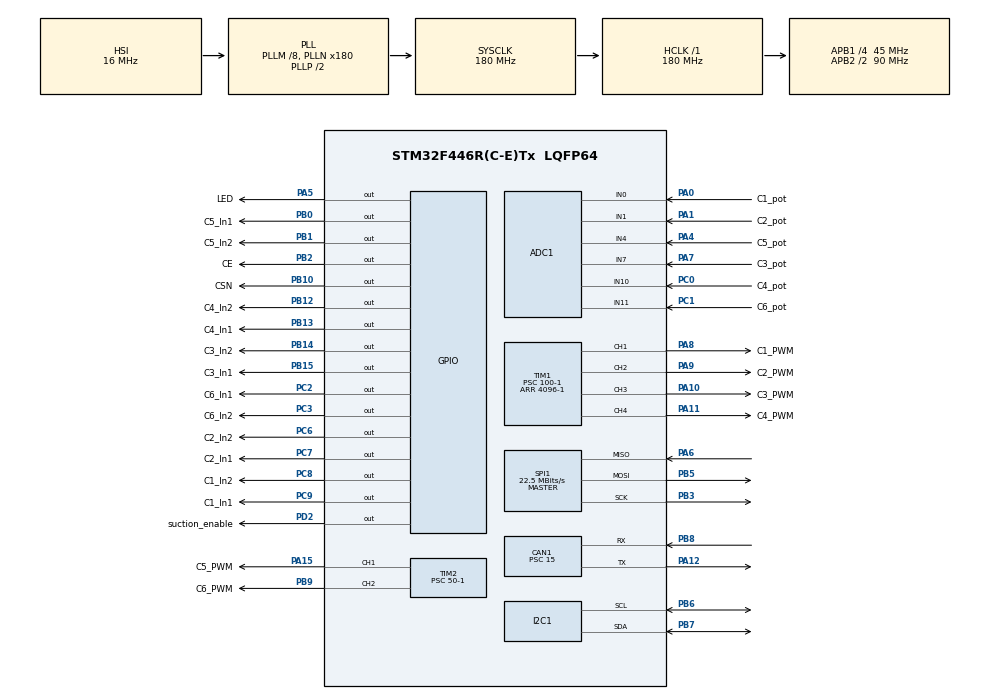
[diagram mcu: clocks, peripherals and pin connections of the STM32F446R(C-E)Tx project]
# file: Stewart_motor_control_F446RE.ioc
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ADC1.Channel-0\#ChannelRegularConversion=ADC_CHANNEL_0
ADC1.Channel-1\#ChannelRegularConversion=ADC_CHANNEL_1
ADC1.Channel-2\#ChannelRegularConversion=ADC_CHANNEL_7
ADC1.Channel-3\#ChannelRegularConversion=ADC_CHANNEL_10
ADC1.Channel-4\#ChannelRegularConversion=ADC_CHANNEL_4
ADC1.Channel-5\#ChannelRegularConversion=ADC_CHANNEL_11
ADC1.ContinuousConvMode=DISABLE
ADC1.EOCSelection=ADC_EOC_SEQ_CONV
ADC1.NbrOfConversion=6
ADC1.NbrOfConversionFlag=1
ADC1.Rank-0\#ChannelRegularConversion=1
ADC1.Rank-1\#ChannelRegularConversion=2
ADC1.Rank-2\#ChannelRegularConversion=3
ADC1.Rank-3\#ChannelRegularConversion=4
ADC1.Rank-4\#ChannelRegularConversion=5
ADC1.Rank-5\#ChannelRegularConversion=6
ADC1.SamplingTime-0\#ChannelRegularConversion=ADC_SAMPLETIME_28CYCLES
ADC1.SamplingTime-1\#ChannelRegularConversion=ADC_SAMPLETIME_28CYCLES
ADC1.SamplingTime-2\#ChannelRegularConversion=ADC_SAMPLETIME_28CYCLES
ADC1.SamplingTime-3\#ChannelRegularConversion=ADC_SAMPLETIME_28CYCLES
ADC1.SamplingTime-4\#ChannelRegularConversion=ADC_SAMPLETIME_28CYCLES
ADC1.SamplingTime-5\#ChannelRegularConversion=ADC_SAMPLETIME_28CYCLES
ADC1.master=1
CAN1.BS1=CAN_BS1_12TQ
CAN1.BS2=CAN_BS2_2TQ
CAN1.CalculateBaudRate=200000
CAN1.CalculateTimeBit=5000
CAN1.CalculateTimeQuantum=333.3333333333333
CAN1.Prescaler=15
Dma.ADC1.0.Direction=DMA_PERIPH_TO_MEMORY
Dma.ADC1.0.FIFOMode=DMA_FIFOMODE_DISABLE
Dma.ADC1.0.Instance=DMA2_Stream0
Dma.ADC1.0.MemDataAlignment=DMA_MDATAALIGN_HALFWORD
Dma.ADC1.0.MemInc=DMA_MINC_ENABLE
Dma.ADC1.0.Mode=DMA_CIRCULAR
Dma.ADC1.0.PeriphDataAlignment=DMA_PDATAALIGN_HALFWORD
Dma.ADC1.0.PeriphInc=DMA_PINC_DISABLE
Dma.ADC1.0.Priority=DMA_PRIORITY_LOW
Dma.Request0=ADC1
I2C1.OwnAddress=0x00
Mcu.Family=STM32F4
Mcu.Name=STM32F446R(C-E)Tx
Mcu.Package=LQFP64
NVIC.DMA2_Stream0_IRQn=true\:0\:0\:false\:false\:true\:false\:true\:true
NVIC.PriorityGroup=NVIC_PRIORITYGROUP_4
PA0-WKUP.GPIO_Label=C1_pot
PA0-WKUP.Signal=ADCx_IN0
PA1.GPIO_Label=C2_pot
PA1.Signal=ADCx_IN1
PA10.GPIO_Label=C3_PWM
PA10.Signal=S_TIM1_CH3
PA11.GPIO_Label=C4_PWM
PA11.Signal=S_TIM1_CH4
PA12.Mode=CAN_Activate
PA12.Signal=CAN1_TX
PA15.GPIO_Label=C5_PWM
PA15.Signal=S_TIM2_CH1_ETR
PA4.GPIO_Label=C5_pot
PA4.Signal=ADCx_IN4
PA5.GPIO_Label=LED
PA5.Signal=GPIO_Output
PA6.Mode=Full_Duplex_Master
PA6.Signal=SPI1_MISO
PA7.GPIO_Label=C3_pot
PA7.Signal=ADCx_IN7
PA8.GPIO_Label=C1_PWM
PA8.Signal=S_TIM1_CH1
PA9.GPIO_Label=C2_PWM
PA9.Signal=S_TIM1_CH2
PB0.GPIO_Label=C5_In1
PB0.Signal=GPIO_Output
PB1.GPIO_Label=C5_In2
PB1.Signal=GPIO_Output
PB10.GPIO_Label=CSN
PB10.Signal=GPIO_Output
PB12.GPIO_Label=C4_In2
PB12.Signal=GPIO_Output
PB13.GPIO_Label=C4_In1
PB13.Signal=GPIO_Output
PB14.GPIO_Label=C3_In2
PB14.Signal=GPIO_Output
PB15.GPIO_Label=C3_In1
PB15.Signal=GPIO_Output
PB2.GPIO_Label=CE
PB2.Signal=GPIO_Output
PB3.Mode=Full_Duplex_Master
PB3.Signal=SPI1_SCK
PB5.Mode=Full_Duplex_Master
PB5.Signal=SPI1_MOSI
PB6.Mode=I2C
PB6.Signal=I2C1_SCL
PB7.Mode=I2C
PB7.Signal=I2C1_SDA
PB8.Mode=CAN_Activate
PB8.Signal=CAN1_RX
PB9.GPIO_Label=C6_PWM
PB9.Signal=S_TIM2_CH2
PC0.GPIO_Label=C4_pot
PC0.Signal=ADCx_IN10
PC1.GPIO_Label=C6_pot
PC1.Signal=ADCx_IN11
PC2.GPIO_Label=C6_In1
PC2.Signal=GPIO_Output
PC3.GPIO_Label=C6_In2
PC3.Signal=GPIO_Output
PC6.GPIO_Label=C2_In2
PC6.Signal=GPIO_Output
PC7.GPIO_Label=C2_In1
PC7.Signal=GPIO_Output
PC8.GPIO_Label=C1_In2
PC8.Signal=GPIO_Output
PC9.GPIO_Label=C1_In1
PC9.Signal=GPIO_Output
PD2.GPIO_Label=suction_enable
PD2.Signal=GPIO_Output
PH0-OSC_IN.Mode=HSE-External-Oscillator
PH0-OSC_IN.Signal=RCC_OSC_IN
PH1-OSC_OUT.Mode=HSE-External-Oscillator
PH1-OSC_OUT.Signal=RCC_OSC_OUT
ProjectManager.HeapSize=0x200
ProjectManager.StackSize=0x400
ProjectManager.TargetToolchain=STM32CubeIDE
RCC.AHBFreq_Value=180000000
RCC.APB1CLKDivider=RCC_HCLK_DIV4
RCC.APB1Freq_Value=45000000
RCC.APB1TimFreq_Value=90000000
RCC.APB2CLKDivider=RCC_HCLK_DIV2
RCC.APB2Freq_Value=90000000
RCC.APB2TimFreq_Value=180000000
RCC.CortexFreq_Value=180000000
RCC.HCLKFreq_Value=180000000
RCC.PLLM=8
RCC.PLLN=180
RCC.SYSCLKFreq_VALUE=180000000
RCC.SYSCLKSource=RCC_SYSCLKSOURCE_PLLCLK
RCC.USBFreq_Value=180000000
RCC.VCOOutputFreq_Value=360000000
SH.ADCx_IN0.0=ADC1_IN0,IN0
SH.ADCx_IN1.0=ADC1_IN1,IN1
SH.ADCx_IN10.0=ADC1_IN10,IN10
SH.ADCx_IN11.0=ADC1_IN11,IN11
SH.ADCx_IN4.0=ADC1_IN4,IN4
SH.ADCx_IN7.0=ADC1_IN7,IN7
SH.S_TIM1_CH1.0=TIM1_CH1,PWM Generation1 CH1
SH.S_TIM1_CH2.0=TIM1_CH2,PWM Generation2 CH2
SH.S_TIM1_CH3.0=TIM1_CH3,PWM Generation3 CH3
SH.S_TIM1_CH4.0=TIM1_CH4,PWM Generation4 CH4
SH.S_TIM2_CH1_ETR.0=TIM2_CH1,PWM Generation1 CH1
SH.S_TIM2_CH2.0=TIM2_CH2,PWM Generation2 CH2
SPI1.BaudRatePrescaler=SPI_BAUDRATEPRESCALER_4
SPI1.CalculateBaudRate=22.5 MBits/s
SPI1.Direction=SPI_DIRECTION_2LINES
SPI1.Mode=SPI_MODE_MASTER
SPI1.VirtualType=VM_MASTER
TIM1.Channel-PWM\ Generation1\ CH1=TIM_CHANNEL_1
TIM1.Channel-PWM\ Generation2\ CH2=TIM_CHANNEL_2
TIM1.Channel-PWM\ Generation3\ CH3=TIM_CHANNEL_3
TIM1.Channel-PWM\ Generation4\ CH4=TIM_CHANNEL_4
TIM1.Period=4096-1
TIM1.Prescaler=100-1
TIM2.Channel-PWM\ Generation1\ CH1=TIM_CHANNEL_1
TIM2.Channel-PWM\ Generation2\ CH2=TIM_CHANNEL_2
TIM2.Period=4096-1
TIM2.Prescaler=50-1
VP_TIM1_VS_ClockSourceINT.Mode=Internal
VP_TIM2_VS_ClockSourceINT.Mode=Internal
board=custom

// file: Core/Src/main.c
/* USER CODE BEGIN Header */
/**
  ******************************************************************************
  * @file           : main.c
  * @brief          : Main program body
  ******************************************************************************
  * @attention
  *
  * Copyright (c) 2024 STMicroelectronics.
  * All rights reserved.
  *
  * This software is licensed under terms that can be found in the LICENSE file
  * in the root directory of this software component.
  * If no LICENSE file comes with this software, it is provided AS-IS.
  *
  ******************************************************************************
  */
/* USER CODE END Header */
#include "main.h"

/* USER CODE BEGIN Includes */

#include "NRF24L01.h"

/* USER CODE END Includes */

/* USER CODE BEGIN PD */

#define I2C
//#define RF
//#define CAN

/* USER CODE END PD */

ADC_HandleTypeDef hadc1;
DMA_HandleTypeDef hdma_adc1;

CAN_HandleTypeDef hcan1;

I2C_HandleTypeDef hi2c1;

SPI_HandleTypeDef hspi1;

TIM_HandleTypeDef htim1;
TIM_HandleTypeDef htim2;

/* USER CODE BEGIN PV */

uint8_t RxData[13];
uint16_t adc_raw[12];
uint16_t curr_pot[6];
uint16_t target_pot[6];
double i_e[6];
double error[6];
uint16_t mot_control_signal[6][3];

uint8_t adc_ready;

uint8_t suction_signal;
uint8_t motor_en_signal;

#ifdef CAN
	CAN_RxHeaderTypeDef pRxHeader;
	uint8_t CAN_RxData[8];
#endif

#ifdef RF
	uint8_t RF_address[] = {0xAA, 0xBB, 0xCC, 0xDD, 0xEE};
#endif

/* USER CODE END PV */

void SystemClock_Config(void);
static void MX_GPIO_Init(void);
static void MX_DMA_Init(void);
static void MX_ADC1_Init(void);
static void MX_TIM1_Init(void);
static void MX_TIM2_Init(void);
static void MX_I2C1_Init(void);
static void MX_SPI1_Init(void);
static void MX_CAN1_Init(void);
/* USER CODE BEGIN PFP */

void unpack_data(void);
void speed_control(void);
void control_motors(void);

#ifdef CAN
void CAN_Recieve_Unpack(void);
void CAN_UnpackRxMessage(void);
static void CAN_Filter_Config(void);
#endif

/* USER CODE END PFP */

int main(void)
{

  /* MCU Configuration--------------------------------------------------------*/

  /* Reset of all peripherals, Initializes the Flash interface and the Systick. */
  HAL_Init();

  /* Configure the system clock */
  SystemClock_Config();

  /* Initialize all configured peripherals */
  MX_GPIO_Init();
  MX_DMA_Init();
  MX_ADC1_Init();
  MX_TIM1_Init();
  MX_TIM2_Init();
  MX_I2C1_Init();
  MX_SPI1_Init();
  MX_CAN1_Init();
  /* USER CODE BEGIN 2 */

  HAL_TIM_PWM_Start(&htim1, TIM_CHANNEL_1);
  HAL_TIM_PWM_Start(&htim1, TIM_CHANNEL_2);
  HAL_TIM_PWM_Start(&htim1, TIM_CHANNEL_3);
  HAL_TIM_PWM_Start(&htim1, TIM_CHANNEL_4);

  HAL_TIM_PWM_Start(&htim2, TIM_CHANNEL_1);
  HAL_TIM_PWM_Start(&htim2, TIM_CHANNEL_2);

#ifdef RF
  	  NRF24_Init();
  	  NRF24_RxMode(RF_address, 1);
#endif

#ifdef CAN

  	  CAN_Filter_Config();
  	  HAL_CAN_Start(&hcan1);
  	  HAL_CAN_WakeUp(&hcan1);
  	  HAL_CAN_ActivateNotification(&hcan1, CAN_IT_RX_FIFO0_MSG_PENDING | CAN_IT_RX_FIFO1_MSG_PENDING);
#endif

  /* USER CODE END 2 */

  /* Infinite loop */
  /* USER CODE BEGIN WHILE */
  while (1)
  {
	  HAL_ADC_Start_DMA(&hadc1, (uint32_t*) adc_raw, 12);

	  // read and filter ADC values
	  if (adc_ready) {

		  curr_pot[0] = (curr_pot[0] + adc_raw[0] + adc_raw[6]) / 3;
		  curr_pot[1] = (curr_pot[1] + adc_raw[1] + adc_raw[7]) / 3;
		  curr_pot[2] = (curr_pot[2] + adc_raw[2] + adc_raw[8]) / 3;
		  curr_pot[3] = (curr_pot[3] + adc_raw[3] + adc_raw[9]) / 3;
		  curr_pot[4] = (curr_pot[4] + adc_raw[4] + adc_raw[10]) / 3;
		  curr_pot[5] = (curr_pot[5] + adc_raw[5] + adc_raw[11]) / 3;

		  adc_ready = 0;

	  }

#ifdef I2C
	  if (HAL_I2C_Slave_Receive(&hi2c1, RxData, sizeof(RxData), 50) == HAL_OK) {
		  HAL_GPIO_TogglePin(LED_GPIO_Port, LED_Pin);
	  }

#endif

#ifdef RF
	  if (isDataAvailable(1) == 1) {
		  NRF24_Receive(RxData);
		  HAL_GPIO_TogglePin(LED_GPIO_Port, LED_Pin);
	  }

#endif

	  unpack_data();

#ifdef CAN

	  CAN_Recieve_Unpack();

#endif

	  if (suction_signal == 1) {
		  HAL_GPIO_WritePin(suction_enable_GPIO_Port, suction_enable_Pin, 1);
	  }
	  else if (suction_signal == 0){
		  HAL_GPIO_WritePin(suction_enable_GPIO_Port, suction_enable_Pin, 0);
	  }

	  speed_control();
	  control_motors();

	  HAL_Delay(10);

    /* USER CODE END WHILE */

  }
}

void SystemClock_Config(void)
{
  RCC_OscInitTypeDef RCC_OscInitStruct = {0};
  RCC_ClkInitTypeDef RCC_ClkInitStruct = {0};

  /** Configure the main internal regulator output voltage
  */
  __HAL_RCC_PWR_CLK_ENABLE();
  __HAL_PWR_VOLTAGESCALING_CONFIG(PWR_REGULATOR_VOLTAGE_SCALE1);

  /** Initializes the RCC Oscillators according to the specified parameters
  * in the RCC_OscInitTypeDef structure.
  */
  RCC_OscInitStruct.OscillatorType = RCC_OSCILLATORTYPE_HSI;
  RCC_OscInitStruct.HSIState = RCC_HSI_ON;
  RCC_OscInitStruct.HSICalibrationValue = RCC_HSICALIBRATION_DEFAULT;
  RCC_OscInitStruct.PLL.PLLState = RCC_PLL_ON;
  RCC_OscInitStruct.PLL.PLLSource = RCC_PLLSOURCE_HSI;
  RCC_OscInitStruct.PLL.PLLM = 8;
  RCC_OscInitStruct.PLL.PLLN = 180;
  RCC_OscInitStruct.PLL.PLLP = RCC_PLLP_DIV2;
  RCC_OscInitStruct.PLL.PLLQ = 2;
  RCC_OscInitStruct.PLL.PLLR = 2;
  if (HAL_RCC_OscConfig(&RCC_OscInitStruct) != HAL_OK)
  {
    Error_Handler();
  }

  /** Activate the Over-Drive mode
  */
  if (HAL_PWREx_EnableOverDrive() != HAL_OK)
  {
    Error_Handler();
  }

  /** Initializes the CPU, AHB and APB buses clocks
  */
  RCC_ClkInitStruct.ClockType = RCC_CLOCKTYPE_HCLK|RCC_CLOCKTYPE_SYSCLK
                              |RCC_CLOCKTYPE_PCLK1|RCC_CLOCKTYPE_PCLK2;
  RCC_ClkInitStruct.SYSCLKSource = RCC_SYSCLKSOURCE_PLLCLK;
  RCC_ClkInitStruct.AHBCLKDivider = RCC_SYSCLK_DIV1;
  RCC_ClkInitStruct.APB1CLKDivider = RCC_HCLK_DIV4;
  RCC_ClkInitStruct.APB2CLKDivider = RCC_HCLK_DIV2;

  if (HAL_RCC_ClockConfig(&RCC_ClkInitStruct, FLASH_LATENCY_5) != HAL_OK)
  {
    Error_Handler();
  }
}

static void MX_ADC1_Init(void)
{

  ADC_ChannelConfTypeDef sConfig = {0};

  /** Configure the global features of the ADC (Clock, Resolution, Data Alignment and number of conversion)
  */
  hadc1.Instance = ADC1;
  hadc1.Init.ClockPrescaler = ADC_CLOCK_SYNC_PCLK_DIV4;
  hadc1.Init.Resolution = ADC_RESOLUTION_12B;
  hadc1.Init.ScanConvMode = ENABLE;
  hadc1.Init.ContinuousConvMode = DISABLE;
  hadc1.Init.DiscontinuousConvMode = DISABLE;
  hadc1.Init.ExternalTrigConvEdge = ADC_EXTERNALTRIGCONVEDGE_NONE;
  hadc1.Init.ExternalTrigConv = ADC_SOFTWARE_START;
  hadc1.Init.DataAlign = ADC_DATAALIGN_RIGHT;
  hadc1.Init.NbrOfConversion = 6;
  hadc1.Init.DMAContinuousRequests = DISABLE;
  hadc1.Init.EOCSelection = ADC_EOC_SEQ_CONV;
  if (HAL_ADC_Init(&hadc1) != HAL_OK)
  {
    Error_Handler();
  }

  /** Configure for the selected ADC regular channel its corresponding rank in the sequencer and its sample time.
  */
  sConfig.Channel = ADC_CHANNEL_0;
  sConfig.Rank = 1;
  sConfig.SamplingTime = ADC_SAMPLETIME_28CYCLES;
  if (HAL_ADC_ConfigChannel(&hadc1, &sConfig) != HAL_OK)
  {
    Error_Handler();
  }

  /** Configure for the selected ADC regular channel its corresponding rank in the sequencer and its sample time.
  */
  sConfig.Channel = ADC_CHANNEL_1;
  sConfig.Rank = 2;
  if (HAL_ADC_ConfigChannel(&hadc1, &sConfig) != HAL_OK)
  {
    Error_Handler();
  }

  /** Configure for the selected ADC regular channel its corresponding rank in the sequencer and its sample time.
  */
  sConfig.Channel = ADC_CHANNEL_7;
  sConfig.Rank = 3;
  if (HAL_ADC_ConfigChannel(&hadc1, &sConfig) != HAL_OK)
  {
    Error_Handler();
  }

  /** Configure for the selected ADC regular channel its corresponding rank in the sequencer and its sample time.
  */
  sConfig.Channel = ADC_CHANNEL_10;
  sConfig.Rank = 4;
  if (HAL_ADC_ConfigChannel(&hadc1, &sConfig) != HAL_OK)
  {
    Error_Handler();
  }

  /** Configure for the selected ADC regular channel its corresponding rank in the sequencer and its sample time.
  */
  sConfig.Channel = ADC_CHANNEL_4;
  sConfig.Rank = 5;
  if (HAL_ADC_ConfigChannel(&hadc1, &sConfig) != HAL_OK)
  {
    Error_Handler();
  }

  /** Configure for the selected ADC regular channel its corresponding rank in the sequencer and its sample time.
  */
  sConfig.Channel = ADC_CHANNEL_11;
  sConfig.Rank = 6;
  if (HAL_ADC_ConfigChannel(&hadc1, &sConfig) != HAL_OK)
  {
    Error_Handler();
  }

}

static void MX_CAN1_Init(void)
{

  hcan1.Instance = CAN1;
  hcan1.Init.Prescaler = 15;
  hcan1.Init.Mode = CAN_MODE_NORMAL;
  hcan1.Init.SyncJumpWidth = CAN_SJW_1TQ;
  hcan1.Init.TimeSeg1 = CAN_BS1_12TQ;
  hcan1.Init.TimeSeg2 = CAN_BS2_2TQ;
  hcan1.Init.TimeTriggeredMode = DISABLE;
  hcan1.Init.AutoBusOff = DISABLE;
  hcan1.Init.AutoWakeUp = DISABLE;
  hcan1.Init.AutoRetransmission = DISABLE;
  hcan1.Init.ReceiveFifoLocked = DISABLE;
  hcan1.Init.TransmitFifoPriority = DISABLE;
  if (HAL_CAN_Init(&hcan1) != HAL_OK)
  {
    Error_Handler();
  }

}

static void MX_I2C1_Init(void)
{

  hi2c1.Instance = I2C1;
  hi2c1.Init.ClockSpeed = 100000;
  hi2c1.Init.DutyCycle = I2C_DUTYCYCLE_2;
  hi2c1.Init.OwnAddress1 = 0;
  hi2c1.Init.AddressingMode = I2C_ADDRESSINGMODE_7BIT;
  hi2c1.Init.DualAddressMode = I2C_DUALADDRESS_DISABLE;
  hi2c1.Init.OwnAddress2 = 0;
  hi2c1.Init.GeneralCallMode = I2C_GENERALCALL_DISABLE;
  hi2c1.Init.NoStretchMode = I2C_NOSTRETCH_DISABLE;
  if (HAL_I2C_Init(&hi2c1) != HAL_OK)
  {
    Error_Handler();
  }

}

static void MX_SPI1_Init(void)
{

  /* SPI1 parameter configuration*/
  hspi1.Instance = SPI1;
  hspi1.Init.Mode = SPI_MODE_MASTER;
  hspi1.Init.Direction = SPI_DIRECTION_2LINES;
  hspi1.Init.DataSize = SPI_DATASIZE_8BIT;
  hspi1.Init.CLKPolarity = SPI_POLARITY_LOW;
  hspi1.Init.CLKPhase = SPI_PHASE_1EDGE;
  hspi1.Init.NSS = SPI_NSS_SOFT;
  hspi1.Init.BaudRatePrescaler = SPI_BAUDRATEPRESCALER_4;
  hspi1.Init.FirstBit = SPI_FIRSTBIT_MSB;
  hspi1.Init.TIMode = SPI_TIMODE_DISABLE;
  hspi1.Init.CRCCalculation = SPI_CRCCALCULATION_DISABLE;
  hspi1.Init.CRCPolynomial = 10;
  if (HAL_SPI_Init(&hspi1) != HAL_OK)
  {
    Error_Handler();
  }

}

static void MX_TIM1_Init(void)
{

  TIM_ClockConfigTypeDef sClockSourceConfig = {0};
  TIM_MasterConfigTypeDef sMasterConfig = {0};
  TIM_OC_InitTypeDef sConfigOC = {0};
  TIM_BreakDeadTimeConfigTypeDef sBreakDeadTimeConfig = {0};

  htim1.Instance = TIM1;
  htim1.Init.Prescaler = 100-1;
  htim1.Init.CounterMode = TIM_COUNTERMODE_UP;
  htim1.Init.Period = 4096-1;
  htim1.Init.ClockDivision = TIM_CLOCKDIVISION_DIV1;
  htim1.Init.RepetitionCounter = 0;
  htim1.Init.AutoReloadPreload = TIM_AUTORELOAD_PRELOAD_DISABLE;
  if (HAL_TIM_Base_Init(&htim1) != HAL_OK)
  {
    Error_Handler();
  }
  sClockSourceConfig.ClockSource = TIM_CLOCKSOURCE_INTERNAL;
  if (HAL_TIM_ConfigClockSource(&htim1, &sClockSourceConfig) != HAL_OK)
  {
    Error_Handler();
  }
  if (HAL_TIM_PWM_Init(&htim1) != HAL_OK)
  {
    Error_Handler();
  }
  sMasterConfig.MasterOutputTrigger = TIM_TRGO_RESET;
  sMasterConfig.MasterSlaveMode = TIM_MASTERSLAVEMODE_DISABLE;
  if (HAL_TIMEx_MasterConfigSynchronization(&htim1, &sMasterConfig) != HAL_OK)
  {
    Error_Handler();
  }
  sConfigOC.OCMode = TIM_OCMODE_PWM1;
  sConfigOC.Pulse = 0;
  sConfigOC.OCPolarity = TIM_OCPOLARITY_HIGH;
  sConfigOC.OCNPolarity = TIM_OCNPOLARITY_HIGH;
  sConfigOC.OCFastMode = TIM_OCFAST_DISABLE;
  sConfigOC.OCIdleState = TIM_OCIDLESTATE_RESET;
  sConfigOC.OCNIdleState = TIM_OCNIDLESTATE_RESET;
  if (HAL_TIM_PWM_ConfigChannel(&htim1, &sConfigOC, TIM_CHANNEL_1) != HAL_OK)
  {
    Error_Handler();
  }
  if (HAL_TIM_PWM_ConfigChannel(&htim1, &sConfigOC, TIM_CHANNEL_2) != HAL_OK)
  {
    Error_Handler();
  }
  if (HAL_TIM_PWM_ConfigChannel(&htim1, &sConfigOC, TIM_CHANNEL_3) != HAL_OK)
  {
    Error_Handler();
  }
  if (HAL_TIM_PWM_ConfigChannel(&htim1, &sConfigOC, TIM_CHANNEL_4) != HAL_OK)
  {
    Error_Handler();
  }
  sBreakDeadTimeConfig.OffStateRunMode = TIM_OSSR_DISABLE;
  sBreakDeadTimeConfig.OffStateIDLEMode = TIM_OSSI_DISABLE;
  sBreakDeadTimeConfig.LockLevel = TIM_LOCKLEVEL_OFF;
  sBreakDeadTimeConfig.DeadTime = 0;
  sBreakDeadTimeConfig.BreakState = TIM_BREAK_DISABLE;
  sBreakDeadTimeConfig.BreakPolarity = TIM_BREAKPOLARITY_HIGH;
  sBreakDeadTimeConfig.AutomaticOutput = TIM_AUTOMATICOUTPUT_DISABLE;
  if (HAL_TIMEx_ConfigBreakDeadTime(&htim1, &sBreakDeadTimeConfig) != HAL_OK)
  {
    Error_Handler();
  }
  HAL_TIM_MspPostInit(&htim1);

}

static void MX_TIM2_Init(void)
{

  TIM_ClockConfigTypeDef sClockSourceConfig = {0};
  TIM_MasterConfigTypeDef sMasterConfig = {0};
  TIM_OC_InitTypeDef sConfigOC = {0};

  htim2.Instance = TIM2;
  htim2.Init.Prescaler = 50-1;
  htim2.Init.CounterMode = TIM_COUNTERMODE_UP;
  htim2.Init.Period = 4096-1;
  htim2.Init.ClockDivision = TIM_CLOCKDIVISION_DIV1;
  htim2.Init.AutoReloadPreload = TIM_AUTORELOAD_PRELOAD_DISABLE;
  if (HAL_TIM_Base_Init(&htim2) != HAL_OK)
  {
    Error_Handler();
  }
  sClockSourceConfig.ClockSource = TIM_CLOCKSOURCE_INTERNAL;
  if (HAL_TIM_ConfigClockSource(&htim2, &sClockSourceConfig) != HAL_OK)
  {
    Error_Handler();
  }
  if (HAL_TIM_PWM_Init(&htim2) != HAL_OK)
  {
    Error_Handler();
  }
  sMasterConfig.MasterOutputTrigger = TIM_TRGO_RESET;
  sMasterConfig.MasterSlaveMode = TIM_MASTERSLAVEMODE_DISABLE;
  if (HAL_TIMEx_MasterConfigSynchronization(&htim2, &sMasterConfig) != HAL_OK)
  {
    Error_Handler();
  }
  sConfigOC.OCMode = TIM_OCMODE_PWM1;
  sConfigOC.Pulse = 0;
  sConfigOC.OCPolarity = TIM_OCPOLARITY_HIGH;
  sConfigOC.OCFastMode = TIM_OCFAST_DISABLE;
  if (HAL_TIM_PWM_ConfigChannel(&htim2, &sConfigOC, TIM_CHANNEL_1) != HAL_OK)
  {
    Error_Handler();
  }
  if (HAL_TIM_PWM_ConfigChannel(&htim2, &sConfigOC, TIM_CHANNEL_2) != HAL_OK)
  {
    Error_Handler();
  }
  HAL_TIM_MspPostInit(&htim2);

}

static void MX_DMA_Init(void)
{

  /* DMA controller clock enable */
  __HAL_RCC_DMA2_CLK_ENABLE();

  /* DMA interrupt init */
  /* DMA2_Stream0_IRQn interrupt configuration */
  HAL_NVIC_SetPriority(DMA2_Stream0_IRQn, 0, 0);
  HAL_NVIC_EnableIRQ(DMA2_Stream0_IRQn);

}

static void MX_GPIO_Init(void)
{
  GPIO_InitTypeDef GPIO_InitStruct = {0};

  /* GPIO Ports Clock Enable */
  __HAL_RCC_GPIOH_CLK_ENABLE();
  __HAL_RCC_GPIOC_CLK_ENABLE();
  __HAL_RCC_GPIOA_CLK_ENABLE();
  __HAL_RCC_GPIOB_CLK_ENABLE();
  __HAL_RCC_GPIOD_CLK_ENABLE();

  /*Configure GPIO pin Output Level */
  HAL_GPIO_WritePin(GPIOC, C6_In1_Pin|C6_In2_Pin|C2_In2_Pin|C2_In1_Pin
                          |C1_In2_Pin|C1_In1_Pin, GPIO_PIN_RESET);

  /*Configure GPIO pin Output Level */
  HAL_GPIO_WritePin(LED_GPIO_Port, LED_Pin, GPIO_PIN_RESET);

  /*Configure GPIO pin Output Level */
  HAL_GPIO_WritePin(GPIOB, C5_In1_Pin|C5_In2_Pin|CE_Pin|CSN_Pin
                          |C4_In2_Pin|C4_In1_Pin|C3_In2_Pin|C3_In1_Pin, GPIO_PIN_RESET);

  /*Configure GPIO pin Output Level */
  HAL_GPIO_WritePin(suction_enable_GPIO_Port, suction_enable_Pin, GPIO_PIN_RESET);

  /*Configure GPIO pins : C6_In1_Pin C6_In2_Pin C2_In2_Pin C2_In1_Pin
                           C1_In2_Pin C1_In1_Pin */
  GPIO_InitStruct.Pin = C6_In1_Pin|C6_In2_Pin|C2_In2_Pin|C2_In1_Pin
                          |C1_In2_Pin|C1_In1_Pin;
  GPIO_InitStruct.Mode = GPIO_MODE_OUTPUT_PP;
  GPIO_InitStruct.Pull = GPIO_NOPULL;
  GPIO_InitStruct.Speed = GPIO_SPEED_FREQ_LOW;
  HAL_GPIO_Init(GPIOC, &GPIO_InitStruct);

  /*Configure GPIO pin : LED_Pin */
  GPIO_InitStruct.Pin = LED_Pin;
  GPIO_InitStruct.Mode = GPIO_MODE_OUTPUT_PP;
  GPIO_InitStruct.Pull = GPIO_NOPULL;
  GPIO_InitStruct.Speed = GPIO_SPEED_FREQ_LOW;
  HAL_GPIO_Init(LED_GPIO_Port, &GPIO_InitStruct);

  /*Configure GPIO pins : C5_In1_Pin C5_In2_Pin CE_Pin CSN_Pin
                           C4_In2_Pin C4_In1_Pin C3_In2_Pin C3_In1_Pin */
  GPIO_InitStruct.Pin = C5_In1_Pin|C5_In2_Pin|CE_Pin|CSN_Pin
                          |C4_In2_Pin|C4_In1_Pin|C3_In2_Pin|C3_In1_Pin;
  GPIO_InitStruct.Mode = GPIO_MODE_OUTPUT_PP;
  GPIO_InitStruct.Pull = GPIO_NOPULL;
  GPIO_InitStruct.Speed = GPIO_SPEED_FREQ_LOW;
  HAL_GPIO_Init(GPIOB, &GPIO_InitStruct);

  /*Configure GPIO pin : suction_enable_Pin */
  GPIO_InitStruct.Pin = suction_enable_Pin;
  GPIO_InitStruct.Mode = GPIO_MODE_OUTPUT_PP;
  GPIO_InitStruct.Pull = GPIO_NOPULL;
  GPIO_InitStruct.Speed = GPIO_SPEED_FREQ_LOW;
  HAL_GPIO_Init(suction_enable_GPIO_Port, &GPIO_InitStruct);

}

/* USER CODE BEGIN 4 */

void unpack_data(void) {

	target_pot[0] = (uint16_t) RxData[0];
	target_pot[0] |= (uint16_t) (RxData[1]<<8);

	target_pot[1] = (uint16_t) RxData[2];
	target_pot[1] |= (uint16_t) (RxData[3]<<8);

	target_pot[2] = (uint16_t) RxData[4];
	target_pot[2] |= (uint16_t) (RxData[5]<<8);

	target_pot[3] = (uint16_t) RxData[6];
	target_pot[3] |= (uint16_t) (RxData[7]<<8);

	target_pot[4] = (uint16_t) RxData[8];
	target_pot[4] |= (uint16_t) (RxData[9]<<8);

	target_pot[5] = (uint16_t) RxData[10];
	target_pot[5] |= (uint16_t) (RxData[11]<<8);

	suction_signal = (uint8_t) RxData[12] & 0x01;
	motor_en_signal = (uint8_t) (RxData[12] >> 1) & 0x01;

}

void HAL_ADC_ConvCpltCallback(ADC_HandleTypeDef* hadc) {
	adc_ready = 1;

}

void speed_control(void) {

	int m_signal;
	double p[6] = {24,24,24,24,24,24};
	double T_i = 20;
	double T_d = 15;
	float elapsed_time = 0.01;
	double error_curr;
	double d_error;

	for (int i=0; i<6;i++) {

		// error term
		error_curr = target_pot[i] - curr_pot[i];

		// derivative error
		d_error = (error_curr - error[i]);

		// update error array
		error[i] = error_curr;

		// integral error calculation and limiting wind up
		i_e[i] += elapsed_time * error_curr;

		if (T_i * i_e[i] > 4095) i_e[i] = 4095 / T_i;

		else if (T_i * i_e[i] < -4095) i_e[i] = -4095 / T_i;

		// motor control signal
		m_signal = (int) p[i] * error_curr + T_i * i_e[i] + T_d * d_error;

		// cap the motor PWM signal at max value
		if (m_signal > 3500) m_signal = 3500;
		else if (m_signal < -3500) m_signal = -3500;

		if (m_signal > 0 && motor_en_signal == 1) {
			mot_control_signal[i][0] =  m_signal;
			mot_control_signal[i][1] = 1;
			mot_control_signal[i][2] = 0;

		}
		else if (m_signal < 0 && motor_en_signal == 1) {
			mot_control_signal[i][0] = - m_signal;
			mot_control_signal[i][1] = 0;
			mot_control_signal[i][2] = 1;
		}

		else if (m_signal == 0 || motor_en_signal == 0) {
			mot_control_signal[i][0] = 0;
			mot_control_signal[i][1] = 0;
			mot_control_signal[i][2] = 0;

		}
	}
}

void control_motors(void) {

	HAL_GPIO_WritePin(C1_In1_GPIO_Port, C1_In1_Pin, mot_control_signal[0][1]);
	HAL_GPIO_WritePin(C1_In2_GPIO_Port, C1_In2_Pin, mot_control_signal[0][2]);
	TIM1->CCR1 = mot_control_signal[0][0];

	HAL_GPIO_WritePin(C2_In1_GPIO_Port, C2_In1_Pin, mot_control_signal[1][1]);
	HAL_GPIO_WritePin(C2_In2_GPIO_Port, C2_In2_Pin, mot_control_signal[1][2]);
	TIM1->CCR2 = mot_control_signal[1][0];

	HAL_GPIO_WritePin(C3_In1_GPIO_Port, C3_In1_Pin, mot_control_signal[2][1]);
	HAL_GPIO_WritePin(C3_In2_GPIO_Port, C3_In2_Pin, mot_control_signal[2][2]);
	TIM1->CCR3 = mot_control_signal[2][0];

	HAL_GPIO_WritePin(C4_In1_GPIO_Port, C4_In1_Pin, mot_control_signal[3][1]);
	HAL_GPIO_WritePin(C4_In2_GPIO_Port, C4_In2_Pin, mot_control_signal[3][2]);
	TIM1->CCR4 = mot_control_signal[3][0];

	HAL_GPIO_WritePin(C5_In1_GPIO_Port, C5_In1_Pin, mot_control_signal[4][1]);
	HAL_GPIO_WritePin(C5_In2_GPIO_Port, C5_In2_Pin, mot_control_signal[4][2]);
	TIM2->CCR1 = mot_control_signal[4][0];

	HAL_GPIO_WritePin(C6_In1_GPIO_Port, C6_In1_Pin, mot_control_signal[5][1]);
	HAL_GPIO_WritePin(C6_In2_GPIO_Port, C6_In2_Pin, mot_control_signal[5][2]);
	TIM2->CCR2 = mot_control_signal[5][0];

}

#ifdef CAN

void CAN_Recieve_Unpack(void) {

	while (HAL_CAN_GetRxFifoFillLevel (&hcan1, CAN_RX_FIFO0) != 0)
	  {
		  HAL_CAN_GetRxMessage(&hcan1, CAN_RX_FIFO0, &pRxHeader, RxData);
		  CAN_UnpackRxMessage();
		  HAL_GPIO_TogglePin(LED_GPIO_Port, LED_Pin);
	  }

	while (HAL_CAN_GetRxFifoFillLevel (&hcan1, CAN_RX_FIFO1) != 0)
	  {
		  HAL_CAN_GetRxMessage(&hcan1, CAN_RX_FIFO1, &pRxHeader, RxData);
		  CAN_UnpackRxMessage();
		  HAL_GPIO_TogglePin(LED_GPIO_Port, LED_Pin);
	  }

}

void CAN_UnpackRxMessage(void) {

	if (pRxHeader.StdId == 0) {
		target_pot[0] = (uint16_t) CAN_RxData[0];
		target_pot[0] |= (uint16_t) (CAN_RxData[1]<<8);

		target_pot[1] = (uint16_t) CAN_RxData[2];
		target_pot[1] |= (uint16_t) (CAN_RxData[3]<<8);

		target_pot[2] = (uint16_t) CAN_RxData[4];
		target_pot[2] |= (uint16_t) (CAN_RxData[5]<<8);

		target_pot[3] = (uint16_t) CAN_RxData[6];
		target_pot[3] |= (uint16_t) (CAN_RxData[7]<<8);

	}

	else if (pRxHeader.StdId == 1) {

		target_pot[4] = (uint16_t) RxData[0];
		target_pot[4] |= (uint16_t) (RxData[1]<<8);

		target_pot[5] = (uint16_t) RxData[2];
		target_pot[5] |= (uint16_t) (RxData[3]<<8);

		suction_signal = (uint8_t) RxData[4] & 0x01;
		motor_en_signal = (uint8_t) (RxData[5] >> 1) & 0x01;

	}

}

static void CAN_Filter_Config(void) {

	//TODO: Configure filter

	CAN_FilterTypeDef sFilterConfig;

	sFilterConfig.FilterActivation = ENABLE;

	sFilterConfig.FilterBank = 0;

	sFilterConfig.FilterFIFOAssignment = CAN_FILTER_FIFO0;

	sFilterConfig.FilterMode = CAN_FILTERMODE_IDMASK;

	sFilterConfig.FilterIdHigh = 0x0000;

	sFilterConfig.FilterIdLow = 0x0000;

	sFilterConfig.FilterMaskIdHigh = 0x0000;

	sFilterConfig.FilterMaskIdLow = 0x0000;

	sFilterConfig.FilterScale = CAN_FILTERSCALE_32BIT;

	if (HAL_CAN_ConfigFilter(&hcan1, &sFilterConfig) != HAL_OK) {
		Error_Handler();
	}

	sFilterConfig.FilterFIFOAssignment = CAN_FILTER_FIFO1;

	if (HAL_CAN_ConfigFilter(&hcan1, &sFilterConfig) != HAL_OK) {
		Error_Handler();
	}
}

#endif

/* USER CODE END 4 */

void Error_Handler(void)
{
  /* USER CODE BEGIN Error_Handler_Debug */
  /* User can add his own implementation to report the HAL error return state */

  while (1)
  {
	  HAL_GPIO_WritePin(LED_GPIO_Port, LED_Pin, 0);
	  HAL_Delay(3000);

	  NVIC_SystemReset();
  }
  /* USER CODE END Error_Handler_Debug */
}
